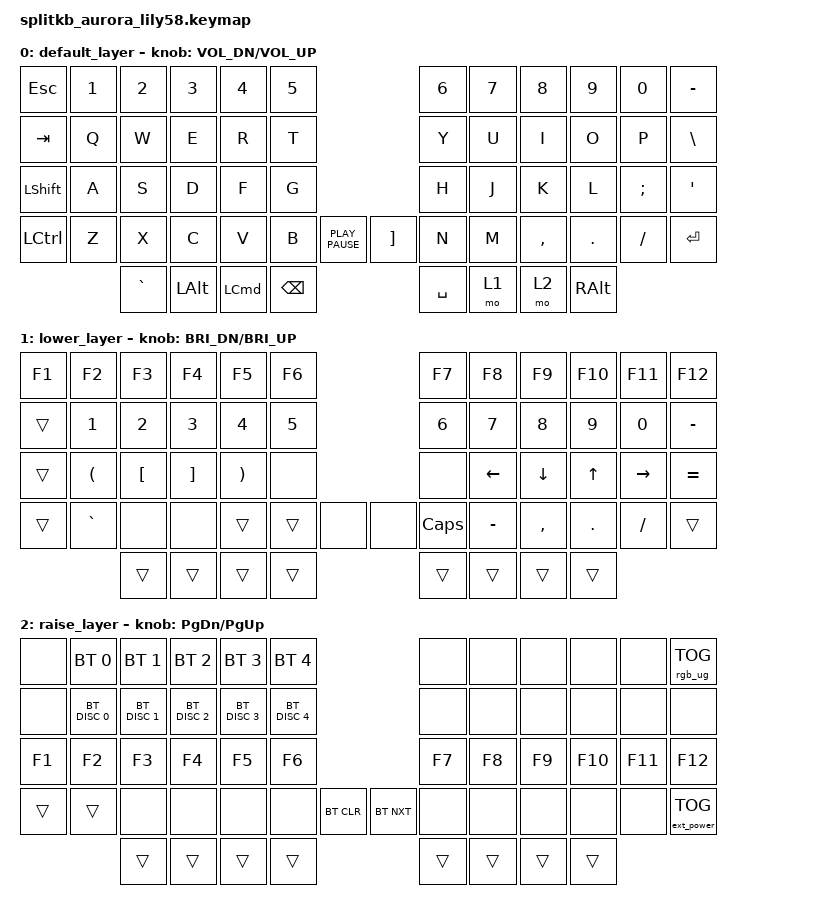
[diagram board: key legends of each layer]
/*
 * Copyright (c) 2022 The ZMK Contributors
 *
 * SPDX-License-Identifier: MIT
 */

#include <behaviors.dtsi>
#include <dt-bindings/zmk/keys.h>
#include <dt-bindings/zmk/bt.h>
#include <dt-bindings/zmk/ext_power.h>
#include <dt-bindings/zmk/rgb.h>


/ {
    keymap {
        compatible = "zmk,keymap";

        default_layer {
            bindings = <
&kp ESC           &kp N1   &kp N2   &kp N3   &kp N4    &kp N5                                        &kp N6  &kp N7     &kp N8     &kp N9    &kp N0      &kp MINUS
&kp TAB           &kp Q    &kp W    &kp E    &kp R     &kp T                                         &kp Y   &kp U      &kp I      &kp O     &kp P       &kp BACKSLASH
&kp LSHFT         &kp A    &kp S    &kp D    &kp F     &kp G                                         &kp H   &kp J      &kp K      &kp L     &kp SEMI    &kp SQT
&kp LEFT_CONTROL  &kp Z    &kp X    &kp C    &kp V     &kp B       &kp K_PLAY_PAUSE   &kp RBKT       &kp N   &kp M      &kp COMMA  &kp DOT   &kp FSLH    &kp RET
                       &kp GRAVE   &kp LEFT_ALT  &kp LEFT_COMMAND  &kp BACKSPACE      &kp SPACE          &mo 1       &mo 2   &kp RIGHT_ALT
            >;

            sensor-bindings = <&inc_dec_kp C_VOL_DN C_VOL_UP>;
        };

        lower_layer {
            bindings = <
&kp F1    &kp F2      &kp F3      &kp F4      &kp F5      &kp F6                        &kp F7          &kp F8          &kp F9          &kp F10           &kp F11           &kp F12
&trans    &kp N1      &kp N2      &kp N3      &kp N4      &kp N5                        &kp N6          &kp N7          &kp N8          &kp N9            &kp N0            &kp MINUS
&trans    &kp LPAR    &kp LBKT    &kp RBKT    &kp RPAR    &none                         &none           &kp LEFT_ARROW  &kp DOWN_ARROW  &kp UP_ARROW      &kp RIGHT_ARROW     &kp EQUAL
&trans    &kp GRAVE   &none       &none       &trans      &trans    &none     &none     &kp CAPSLOCK    &kp MINUS       &kp COMMA       &kp DOT           &kp SLASH   &trans
                                        &trans  &trans  &trans      &trans    &trans    &trans  &trans  &trans
            >;

            sensor-bindings = <&inc_dec_kp C_BRI_DN C_BRI_UP>;
        };

        raise_layer {
    bindings = <
&none    &bt BT_SEL 0     &bt BT_SEL 1     &bt BT_SEL 2     &bt BT_SEL 3    &bt BT_SEL 4                              &none     &none      &none      &none       &none       &rgb_ug RGB_TOG
&none    &bt BT_DISC 0    &bt BT_DISC 1    &bt BT_DISC 2    &bt BT_DISC 3   &bt BT_DISC 4                             &none     &none      &none      &none       &none       &none
&kp F1   &kp F2           &kp F3           &kp F4           &kp F5    &kp F6                             &kp F7    &kp F8     &kp F9     &kp F10     &kp F11     &kp F12
&trans   &trans           &none            &none            &none     &none     &bt BT_CLR   &bt BT_NXT    &none     &none      &none      &none       &none       &ext_power EP_TOG
                                      &trans     &trans      &trans      &trans                   &trans      &trans     &trans     &trans
        >;

            sensor-bindings = <&inc_dec_kp PG_DN PG_UP>;
        };
    };
};
